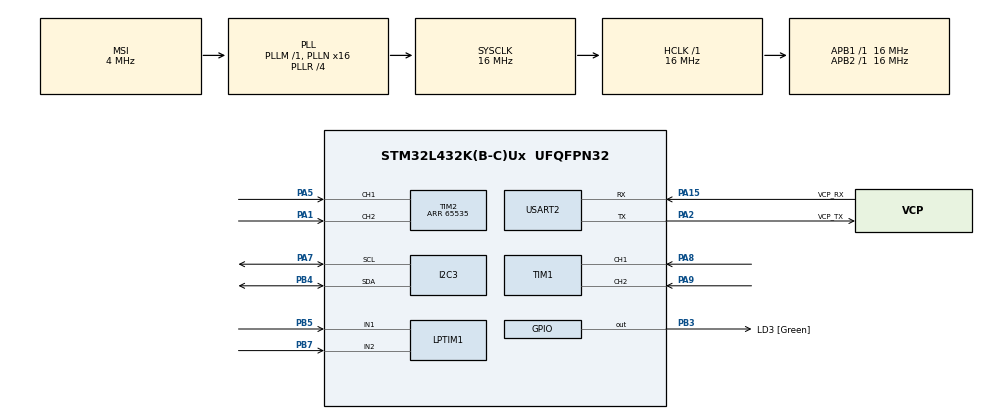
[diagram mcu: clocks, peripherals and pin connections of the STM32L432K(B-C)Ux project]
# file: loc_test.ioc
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I2C3.Timing=0x00303D5B
Mcu.Family=STM32L4
Mcu.Name=STM32L432K(B-C)Ux
Mcu.Package=UFQFPN32
NVIC.PriorityGroup=NVIC_PRIORITYGROUP_4
NVIC.TIM1_BRK_TIM15_IRQn=true\:0\:0\:false\:false\:true\:true\:true
NVIC.TIM2_IRQn=true\:0\:0\:false\:false\:true\:true\:true
NVIC.TIM7_IRQn=true\:0\:0\:false\:false\:true\:true\:true
PA0.GPIO_Label=MCO [High speed clock in]
PA0.Mode=HSE-External-Clock-Source-for-LittleOrca
PA0.Signal=RCC_CK_IN
PA1.Signal=S_TIM2_CH2
PA13\ (JTMS-SWDIO).GPIO_Label=SWDIO
PA13\ (JTMS-SWDIO).Mode=Serial_Wire
PA13\ (JTMS-SWDIO).Signal=SYS_JTMS-SWDIO
PA14\ (JTCK-SWCLK).GPIO_Label=SWCLK
PA14\ (JTCK-SWCLK).Mode=Serial_Wire
PA14\ (JTCK-SWCLK).Signal=SYS_JTCK-SWCLK
PA15\ (JTDI).GPIO_Label=VCP_RX
PA15\ (JTDI).Mode=Asynchronous
PA15\ (JTDI).Signal=USART2_RX
PA2.GPIO_Label=VCP_TX
PA2.Mode=Asynchronous
PA2.Signal=USART2_TX
PA5.Signal=S_TIM2_CH1
PA7.Mode=I2C
PA7.Signal=I2C3_SCL
PA8.Signal=S_TIM1_CH1
PA9.Signal=S_TIM1_CH2
PB3\ (JTDO-TRACESWO).GPIO_Label=LD3 [Green]
PB3\ (JTDO-TRACESWO).Signal=GPIO_Output
PB4\ (NJTRST).Mode=I2C
PB4\ (NJTRST).Signal=I2C3_SDA
PB5.Mode=Encoder_mode_occur1
PB5.Signal=LPTIM1_IN1
PB7.Mode=Encoder_mode_occur1
PB7.Signal=LPTIM1_IN2
PC14-OSC32_IN\ (PC14).Mode=LSE-External-Oscillator
PC14-OSC32_IN\ (PC14).Signal=RCC_OSC32_IN
PC15-OSC32_OUT\ (PC15).Mode=LSE-External-Oscillator
PC15-OSC32_OUT\ (PC15).Signal=RCC_OSC32_OUT
ProjectManager.HeapSize=0x200
ProjectManager.StackSize=0x400
ProjectManager.TargetToolchain=STM32CubeIDE
RCC.ADCFreq_Value=16000000
RCC.AHBFreq_Value=16000000
RCC.APB1Freq_Value=16000000
RCC.APB1TimFreq_Value=16000000
RCC.APB2Freq_Value=16000000
RCC.APB2TimFreq_Value=16000000
RCC.CortexFreq_Value=16000000
RCC.HCLKFreq_Value=16000000
RCC.HSE_VALUE=8000000
RCC.HSI16_VALUE=16000000
RCC.HSI48_VALUE=48000000
RCC.HSI_VALUE=16000000
RCC.MSI_VALUE=4000000
RCC.PLLMUL=RCC_PLLMUL_4
RCC.PLLN=16
RCC.PLLR=RCC_PLLR_DIV4
RCC.SYSCLKFreq_VALUE=16000000
RCC.SYSCLKSource=RCC_SYSCLKSOURCE_PLLCLK
RCC.USBFreq_Value=16000000
RCC.VCOOutputFreq_Value=64000000
SH.S_TIM1_CH1.0=TIM1_CH1,Encoder_Interface
SH.S_TIM1_CH2.0=TIM1_CH2,Encoder_Interface
SH.S_TIM2_CH1.0=TIM2_CH1,Encoder_Interface
SH.S_TIM2_CH2.0=TIM2_CH2,Encoder_Interface
TIM2.Period=65535
TIM7.Period=199
TIM7.Prescaler=399
USART2.OverSampling=UART_OVERSAMPLING_16
USART2.VirtualMode-Asynchronous=VM_ASYNC
VP_TIM7_VS_ClockSourceINT.Mode=Enable_Timer
board=NUCLEO-L432KC

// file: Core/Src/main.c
/* USER CODE BEGIN Header */
/**
  ******************************************************************************
  * @file           : main.c
  * @brief          : Main program body
  ******************************************************************************
  * @attention
  *
  * <h2><center>&copy; Copyright (c) 2021 STMicroelectronics.
  * All rights reserved.</center></h2>
  *
  * This software component is licensed by ST under BSD 3-Clause license,
  * the "License"; You may not use this file except in compliance with the
  * License. You may obtain a copy of the License at:
  *                        opensource.org/licenses/BSD-3-Clause
  *
  ******************************************************************************
  */
/* USER CODE END Header */
#include "main.h"

/* USER CODE BEGIN Includes */
#include "mpu6050.h"
#include "madgwick.h"
#include "math.h"
#include "stdio.h"
/* USER CODE END Includes */

/* USER CODE BEGIN PM */
#define PPR 1024
#define R_ODOM 56
/* USER CODE END PM */

I2C_HandleTypeDef hi2c3;

LPTIM_HandleTypeDef hlptim1;

TIM_HandleTypeDef htim1;
TIM_HandleTypeDef htim2;
TIM_HandleTypeDef htim7;

UART_HandleTypeDef huart2;

/* USER CODE BEGIN PV */
TIM_Encoder_InitTypeDef s_config;
TIM_MasterConfigTypeDef s_master_config;
/* USER CODE END PV */

void SystemClock_Config(void);
static void MX_GPIO_Init(void);
static void MX_USART2_UART_Init(void);
static void MX_TIM1_Init(void);
static void MX_TIM2_Init(void);
static void MX_TIM7_Init(void);
static void MX_I2C3_Init(void);
static void MX_LPTIM1_Init(void);
/* USER CODE BEGIN PFP */
void HAL_TIM_PeriodElapsedCallback(TIM_HandleTypeDef *htim);
int _write(int file, char *ptr, int len);
/* USER CODE END PFP */

/* USER CODE BEGIN 0 */
float roll, pitch, yaw;
volatile long count1, count2 = 0;
volatile int distance1, distance2 = 0.0;
volatile int overflow1, overflow2 = 0;
char buf[50];
/* USER CODE END 0 */

int main(void)
{
  /* USER CODE BEGIN 1 */
	setbuf(stdout, NULL);
  /* USER CODE END 1 */

  /* MCU Configuration--------------------------------------------------------*/

  /* Reset of all peripherals, Initializes the Flash interface and the Systick. */
  HAL_Init();

  /* Configure the system clock */
  SystemClock_Config();

  /* Initialize all configured peripherals */
  MX_GPIO_Init();
  MX_USART2_UART_Init();
  MX_TIM1_Init();
  MX_TIM2_Init();
  MX_TIM7_Init();
  MX_I2C3_Init();
  MX_LPTIM1_Init();
  /* USER CODE BEGIN 2 */
  beginMPU6050(1000);
  beginFilter(200);
  HAL_TIM_Encoder_Start(&htim1, TIM_CHANNEL_ALL);
  HAL_TIM_Base_Start_IT(&htim1);
  HAL_TIM_Encoder_Start(&htim2, TIM_CHANNEL_ALL);
  HAL_TIM_Base_Start_IT(&htim2);
  HAL_TIM_Base_Start_IT(&htim7);
  overflow1 = 0;
  overflow2 = 0;
  /* USER CODE END 2 */

  /* Infinite loop */
  /* USER CODE BEGIN WHILE */
  while (1)
  {
	  count1 = (long)(overflow1) * 0x10000 + (long)TIM1->CNT;
	  count2 = (long)(overflow2) * 0x10000 + (long)TIM2->CNT;
	  distance1 = M_PI * R_ODOM * count1 / (PPR * 4.0);
	  distance2 = M_PI * R_ODOM * count2 / (PPR * 4.0);
    /* USER CODE END WHILE */

  }
}

void SystemClock_Config(void)
{
  RCC_OscInitTypeDef RCC_OscInitStruct = {0};
  RCC_ClkInitTypeDef RCC_ClkInitStruct = {0};
  RCC_PeriphCLKInitTypeDef PeriphClkInit = {0};

  /** Configure LSE Drive Capability
  */
  HAL_PWR_EnableBkUpAccess();
  __HAL_RCC_LSEDRIVE_CONFIG(RCC_LSEDRIVE_LOW);
  /** Initializes the RCC Oscillators according to the specified parameters
  * in the RCC_OscInitTypeDef structure.
  */
  RCC_OscInitStruct.OscillatorType = RCC_OSCILLATORTYPE_LSE|RCC_OSCILLATORTYPE_MSI;
  RCC_OscInitStruct.LSEState = RCC_LSE_ON;
  RCC_OscInitStruct.MSIState = RCC_MSI_ON;
  RCC_OscInitStruct.MSICalibrationValue = 0;
  RCC_OscInitStruct.MSIClockRange = RCC_MSIRANGE_6;
  RCC_OscInitStruct.PLL.PLLState = RCC_PLL_ON;
  RCC_OscInitStruct.PLL.PLLSource = RCC_PLLSOURCE_MSI;
  RCC_OscInitStruct.PLL.PLLM = 1;
  RCC_OscInitStruct.PLL.PLLN = 16;
  RCC_OscInitStruct.PLL.PLLP = RCC_PLLP_DIV7;
  RCC_OscInitStruct.PLL.PLLQ = RCC_PLLQ_DIV2;
  RCC_OscInitStruct.PLL.PLLR = RCC_PLLR_DIV4;
  if (HAL_RCC_OscConfig(&RCC_OscInitStruct) != HAL_OK)
  {
    Error_Handler();
  }
  /** Initializes the CPU, AHB and APB buses clocks
  */
  RCC_ClkInitStruct.ClockType = RCC_CLOCKTYPE_HCLK|RCC_CLOCKTYPE_SYSCLK
                              |RCC_CLOCKTYPE_PCLK1|RCC_CLOCKTYPE_PCLK2;
  RCC_ClkInitStruct.SYSCLKSource = RCC_SYSCLKSOURCE_PLLCLK;
  RCC_ClkInitStruct.AHBCLKDivider = RCC_SYSCLK_DIV1;
  RCC_ClkInitStruct.APB1CLKDivider = RCC_HCLK_DIV1;
  RCC_ClkInitStruct.APB2CLKDivider = RCC_HCLK_DIV1;

  if (HAL_RCC_ClockConfig(&RCC_ClkInitStruct, FLASH_LATENCY_0) != HAL_OK)
  {
    Error_Handler();
  }
  PeriphClkInit.PeriphClockSelection = RCC_PERIPHCLK_USART2|RCC_PERIPHCLK_LPTIM1
                              |RCC_PERIPHCLK_I2C3;
  PeriphClkInit.Usart2ClockSelection = RCC_USART2CLKSOURCE_PCLK1;
  PeriphClkInit.I2c3ClockSelection = RCC_I2C3CLKSOURCE_PCLK1;
  PeriphClkInit.Lptim1ClockSelection = RCC_LPTIM1CLKSOURCE_PCLK;
  if (HAL_RCCEx_PeriphCLKConfig(&PeriphClkInit) != HAL_OK)
  {
    Error_Handler();
  }
  /** Configure the main internal regulator output voltage
  */
  if (HAL_PWREx_ControlVoltageScaling(PWR_REGULATOR_VOLTAGE_SCALE1) != HAL_OK)
  {
    Error_Handler();
  }
  /** Enable MSI Auto calibration
  */
  HAL_RCCEx_EnableMSIPLLMode();
}

static void MX_I2C3_Init(void)
{

  hi2c3.Instance = I2C3;
  hi2c3.Init.Timing = 0x00303D5B;
  hi2c3.Init.OwnAddress1 = 0;
  hi2c3.Init.AddressingMode = I2C_ADDRESSINGMODE_7BIT;
  hi2c3.Init.DualAddressMode = I2C_DUALADDRESS_DISABLE;
  hi2c3.Init.OwnAddress2 = 0;
  hi2c3.Init.OwnAddress2Masks = I2C_OA2_NOMASK;
  hi2c3.Init.GeneralCallMode = I2C_GENERALCALL_DISABLE;
  hi2c3.Init.NoStretchMode = I2C_NOSTRETCH_DISABLE;
  if (HAL_I2C_Init(&hi2c3) != HAL_OK)
  {
    Error_Handler();
  }
  /** Configure Analogue filter
  */
  if (HAL_I2CEx_ConfigAnalogFilter(&hi2c3, I2C_ANALOGFILTER_ENABLE) != HAL_OK)
  {
    Error_Handler();
  }
  /** Configure Digital filter
  */
  if (HAL_I2CEx_ConfigDigitalFilter(&hi2c3, 0) != HAL_OK)
  {
    Error_Handler();
  }

}

static void MX_LPTIM1_Init(void)
{

  hlptim1.Instance = LPTIM1;
  hlptim1.Init.Clock.Source = LPTIM_CLOCKSOURCE_APBCLOCK_LPOSC;
  hlptim1.Init.Clock.Prescaler = LPTIM_PRESCALER_DIV1;
  hlptim1.Init.UltraLowPowerClock.Polarity = LPTIM_CLOCKPOLARITY_RISING;
  hlptim1.Init.UltraLowPowerClock.SampleTime = LPTIM_CLOCKSAMPLETIME_DIRECTTRANSITION;
  hlptim1.Init.Trigger.Source = LPTIM_TRIGSOURCE_SOFTWARE;
  hlptim1.Init.OutputPolarity = LPTIM_OUTPUTPOLARITY_HIGH;
  hlptim1.Init.UpdateMode = LPTIM_UPDATE_IMMEDIATE;
  hlptim1.Init.CounterSource = LPTIM_COUNTERSOURCE_EXTERNAL;
  hlptim1.Init.Input1Source = LPTIM_INPUT1SOURCE_GPIO;
  hlptim1.Init.Input2Source = LPTIM_INPUT2SOURCE_GPIO;
  if (HAL_LPTIM_Init(&hlptim1) != HAL_OK)
  {
    Error_Handler();
  }

}

static void MX_TIM1_Init(void)
{

  TIM_Encoder_InitTypeDef sConfig = {0};
  TIM_MasterConfigTypeDef sMasterConfig = {0};

  htim1.Instance = TIM1;
  htim1.Init.Prescaler = 0;
  htim1.Init.CounterMode = TIM_COUNTERMODE_UP;
  htim1.Init.Period = 65535;
  htim1.Init.ClockDivision = TIM_CLOCKDIVISION_DIV1;
  htim1.Init.RepetitionCounter = 0;
  htim1.Init.AutoReloadPreload = TIM_AUTORELOAD_PRELOAD_DISABLE;
  sConfig.EncoderMode = TIM_ENCODERMODE_TI1;
  sConfig.IC1Polarity = TIM_ICPOLARITY_RISING;
  sConfig.IC1Selection = TIM_ICSELECTION_DIRECTTI;
  sConfig.IC1Prescaler = TIM_ICPSC_DIV1;
  sConfig.IC1Filter = 0;
  sConfig.IC2Polarity = TIM_ICPOLARITY_RISING;
  sConfig.IC2Selection = TIM_ICSELECTION_DIRECTTI;
  sConfig.IC2Prescaler = TIM_ICPSC_DIV1;
  sConfig.IC2Filter = 0;
  if (HAL_TIM_Encoder_Init(&htim1, &sConfig) != HAL_OK)
  {
    Error_Handler();
  }
  sMasterConfig.MasterOutputTrigger = TIM_TRGO_RESET;
  sMasterConfig.MasterOutputTrigger2 = TIM_TRGO2_RESET;
  sMasterConfig.MasterSlaveMode = TIM_MASTERSLAVEMODE_DISABLE;
  if (HAL_TIMEx_MasterConfigSynchronization(&htim1, &sMasterConfig) != HAL_OK)
  {
    Error_Handler();
  }

}

static void MX_TIM2_Init(void)
{

  TIM_Encoder_InitTypeDef sConfig = {0};
  TIM_MasterConfigTypeDef sMasterConfig = {0};

  htim2.Instance = TIM2;
  htim2.Init.Prescaler = 0;
  htim2.Init.CounterMode = TIM_COUNTERMODE_UP;
  htim2.Init.Period = 65535;
  htim2.Init.ClockDivision = TIM_CLOCKDIVISION_DIV1;
  htim2.Init.AutoReloadPreload = TIM_AUTORELOAD_PRELOAD_DISABLE;
  sConfig.EncoderMode = TIM_ENCODERMODE_TI1;
  sConfig.IC1Polarity = TIM_ICPOLARITY_RISING;
  sConfig.IC1Selection = TIM_ICSELECTION_DIRECTTI;
  sConfig.IC1Prescaler = TIM_ICPSC_DIV1;
  sConfig.IC1Filter = 0;
  sConfig.IC2Polarity = TIM_ICPOLARITY_RISING;
  sConfig.IC2Selection = TIM_ICSELECTION_DIRECTTI;
  sConfig.IC2Prescaler = TIM_ICPSC_DIV1;
  sConfig.IC2Filter = 0;
  if (HAL_TIM_Encoder_Init(&htim2, &sConfig) != HAL_OK)
  {
    Error_Handler();
  }
  sMasterConfig.MasterOutputTrigger = TIM_TRGO_RESET;
  sMasterConfig.MasterSlaveMode = TIM_MASTERSLAVEMODE_DISABLE;
  if (HAL_TIMEx_MasterConfigSynchronization(&htim2, &sMasterConfig) != HAL_OK)
  {
    Error_Handler();
  }

}

static void MX_TIM7_Init(void)
{

  TIM_MasterConfigTypeDef sMasterConfig = {0};

  htim7.Instance = TIM7;
  htim7.Init.Prescaler = 399;
  htim7.Init.CounterMode = TIM_COUNTERMODE_UP;
  htim7.Init.Period = 199;
  htim7.Init.AutoReloadPreload = TIM_AUTORELOAD_PRELOAD_DISABLE;
  if (HAL_TIM_Base_Init(&htim7) != HAL_OK)
  {
    Error_Handler();
  }
  sMasterConfig.MasterOutputTrigger = TIM_TRGO_RESET;
  sMasterConfig.MasterSlaveMode = TIM_MASTERSLAVEMODE_DISABLE;
  if (HAL_TIMEx_MasterConfigSynchronization(&htim7, &sMasterConfig) != HAL_OK)
  {
    Error_Handler();
  }

}

static void MX_USART2_UART_Init(void)
{

  huart2.Instance = USART2;
  huart2.Init.BaudRate = 115200;
  huart2.Init.WordLength = UART_WORDLENGTH_8B;
  huart2.Init.StopBits = UART_STOPBITS_1;
  huart2.Init.Parity = UART_PARITY_NONE;
  huart2.Init.Mode = UART_MODE_TX_RX;
  huart2.Init.HwFlowCtl = UART_HWCONTROL_NONE;
  huart2.Init.OverSampling = UART_OVERSAMPLING_16;
  huart2.Init.OneBitSampling = UART_ONE_BIT_SAMPLE_DISABLE;
  huart2.AdvancedInit.AdvFeatureInit = UART_ADVFEATURE_NO_INIT;
  if (HAL_UART_Init(&huart2) != HAL_OK)
  {
    Error_Handler();
  }

}

static void MX_GPIO_Init(void)
{
  GPIO_InitTypeDef GPIO_InitStruct = {0};

  /* GPIO Ports Clock Enable */
  __HAL_RCC_GPIOC_CLK_ENABLE();
  __HAL_RCC_GPIOA_CLK_ENABLE();
  __HAL_RCC_GPIOB_CLK_ENABLE();

  /*Configure GPIO pin Output Level */
  HAL_GPIO_WritePin(LD3_GPIO_Port, LD3_Pin, GPIO_PIN_RESET);

  /*Configure GPIO pin : LD3_Pin */
  GPIO_InitStruct.Pin = LD3_Pin;
  GPIO_InitStruct.Mode = GPIO_MODE_OUTPUT_PP;
  GPIO_InitStruct.Pull = GPIO_NOPULL;
  GPIO_InitStruct.Speed = GPIO_SPEED_FREQ_LOW;
  HAL_GPIO_Init(LD3_GPIO_Port, &GPIO_InitStruct);

}

/* USER CODE BEGIN 4 */
void HAL_TIM_PeriodElapsedCallback(TIM_HandleTypeDef *htim){
	if(htim->Instance == TIM1){
		__HAL_TIM_CLEAR_FLAG(&htim1, TIM_IT_UPDATE);
		if(__HAL_TIM_IS_TIM_COUNTING_DOWN(&htim1)){
			overflow1--;
		}else{
			overflow1++;
		}
	}else if(htim->Instance == TIM2){
		__HAL_TIM_CLEAR_FLAG(&htim2, TIM_IT_UPDATE);
		if(__HAL_TIM_IS_TIM_COUNTING_DOWN(&htim2)){
			overflow2--;
		}else{
			overflow2++;
		}
	}else if(htim->Instance == TIM7){
		updateMPU6050();
		updateIMU(getGyroX(), getGyroY(), getGyroZ(), getAccelX(), getAccelY(), getAccelZ());
		roll = getRoll();
		pitch = getPitch();
		yaw = getYaw();
		printf("yaw:%0.5f en1:%ldmm en2:%ldmm\r\n", yaw, count1, count2);
		//printf("came\r\n");
		//sprintf(buf, "yaw:%.5f En1:%ld %dmm En2:%ld %dmm\r\n", yaw, count1, distance1, count2, distance2);
		//HAL_UART_Transmit(&huart2, (uint8_t*)buf, sizeof(buf), 0xFFFF);
	}
}

int _write(int file, char *ptr, int len){
	HAL_UART_Transmit(&huart2,(uint8_t *)ptr,len,10);
	return len;
}
/* USER CODE END 4 */

void Error_Handler(void)
{
  __disable_irq();
  while (1)
  {
  }
}

/************************ (C) COPYRIGHT STMicroelectronics *****END OF FILE****/
